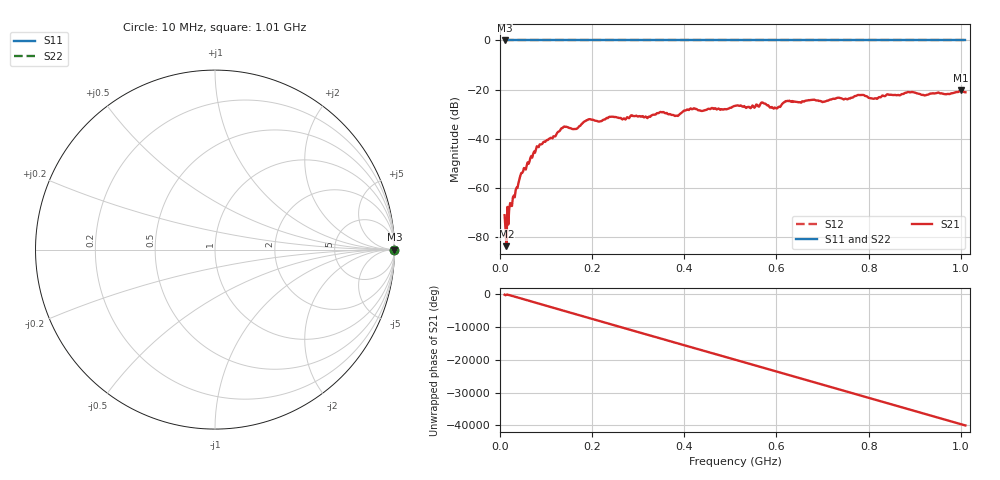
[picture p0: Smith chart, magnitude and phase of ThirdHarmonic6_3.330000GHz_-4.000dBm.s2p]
! 8/17/2025 10:27:23 AM
! C:\ANRITSUVNA\TEMP\TEMP.S2P
! CHANNEL.1
! TR.MEASUREMENT
! RAW.DATA
! RF.CORRECTION.OFF
! AVERAGING.OFF
! IF.BANDWIDTH: 5KHZ
! SWEEPTYPE:  FREQ.SWEEP(Linear)
! Reference Plane Port Info
! PORT:  PORT1  PORT2
! DISTANCE:  0  m  0  m
! TIME:  0  s  0  s
! PHASE.OFFSET:  0  deg.  0  deg.
! LOSS:  0  dB  0  dB
! REF.LOSS:  0  dB  0  dB
! REF.FREQ:  0  Hz  0  Hz
! Power Info
! POWER:  -20  dBm  -20  dBm
! EFF.POWER:  -20  dBm  -20  dBm
! SOURCE.ATTEN:  0  dB  0  dB
! TEST.ATTEN:  0  dB  0  dB
# GHZ S RI R 50.0
! FREQ.GHZ  S11RE  S11IM  S21RE  S21IM  S12RE  S12IM  S22RE  S22IM
!; PortSelection: Port_12
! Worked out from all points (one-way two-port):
!   501 points, 10 MHz to 1.01 GHz, reference 50 ohm
!   highest |S21| = -20.40 dB at 1 GHz (marker M1); lowest = -83.9 dB at 14 MHz (marker M2)
!   lowest |S11| = 0.0 dB at 10 MHz (marker M3)
!   |S11| at or under -10 dB: nowhere
!   |S22| runs from 0.0 to 0.0 dB; largest |S21 - S12| = 1.1
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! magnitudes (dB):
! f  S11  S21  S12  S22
! 10 MHz  0.0  -71.2  0.0  0.0
! 14 MHz  0.0  -83.9  0.0  0.0
! 20 MHz  0.0  -68.6  0.0  0.0
! 48 MHz  0.0  -54.0  0.0  0.0
! 82 MHz  0.0  -43.4  0.0  0.0
! 136 MHz  0.0  -35.7  0.0  0.0
! 164 MHz  0.0  -36.0  0.0  0.0
! 178 MHz  0.0  -33.9  0.0  0.0
! 192 MHz  0.0  -32.2  0.0  0.0
! 322 MHz  0.0  -31.2  0.0  0.0
! 344 MHz  0.0  -29.7  0.0  0.0
! 384 MHz  0.0  -30.7  0.0  0.0
! 416 MHz  0.0  -28.0  0.0  0.0
! 510 MHz  0.0  -26.7  0.0  0.0
! 570 MHz  0.0  -25.3  0.0  0.0
! 598 MHz  0.0  -27.5  0.0  0.0
! 624 MHz  0.0  -24.6  0.0  0.0
! 678 MHz  0.0  -24.2  0.0  0.0
! 814 MHz  0.0  -23.6  0.0  0.0
! 844 MHz  0.0  -22.1  0.0  0.0
! 1 GHz  0.0  -20.4  0.0  0.0
! 1.01 GHz  0.0  -21.1  0.0  0.0
